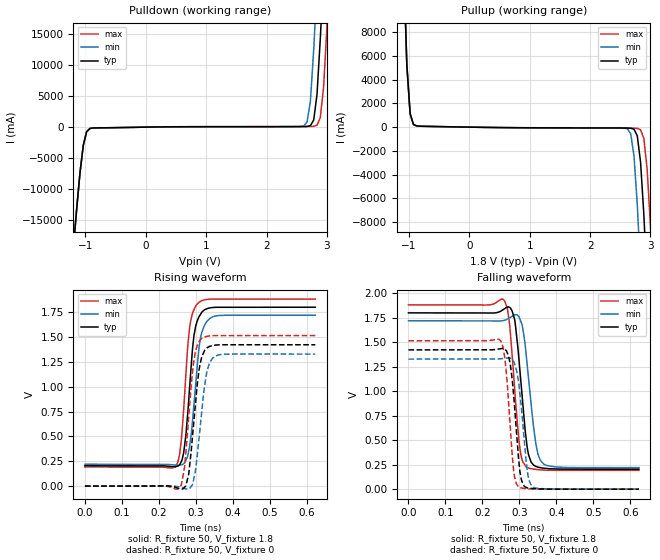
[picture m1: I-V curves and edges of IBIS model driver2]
| IBIS file inv_chain_fast_5ps_tr10ps.ibs created by PYS2IBIS3
| Missouri S&T EMC Lab
[IBIS Ver] 7.1
[File Name] inv_chain_fast_5ps_tr10ps.ibs
[File Rev] 1.0
[Date] Jul 27, 2026
[Source] Eight-stage inv_chain transistor model characterized with s2ibispy
[Notes] Parameter selection; sim_time=6.231e-10, tr=tf=1.000e-11.
[Component] invchain
[Manufacturer] s2ibispy study
[Package]
| variable   typ   min   max
R_pkg 0 NA NA
L_pkg 0H NA NA
C_pkg 0F NA NA
[Pin]  signal_name   model_name   R_pin   L_pin   C_pin
VSSQ   VSSQ   Gnd
VCCQ   VCCQ   Power
| IN IN dummy
PAD   PAD   driver2
| End of Component
| Models and submodels in the file (1): driver2 (Output)
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[Model] driver2
Model_type Output
Polarity Non-Inverting
Enable Active-High
Vinl  = 0.8V
Vinh  = 2V
C_comp 0.4680pF NA NA
[Temperature Range] 27.0000 27.0000 27.0000
[Voltage Range] 1.8000V 1.7000V 1.9000V
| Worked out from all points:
|   slope of the pulldown table from 0 to 0.27 V, typ, clamps not added: 6.79 ohm
|   slope of the pullup table from 0 to 0.27 V, typ, clamps not added: 12.6 ohm
|   rising waveform, R_fixture 50, V_fixture 1.8: 20-80 % time 20.6ps typ, 22.2ps min, 19.1ps max; typ from 0.204 V to 1.8 V
|   rising waveform, R_fixture 50, V_fixture 0: 20-80 % time 21.6ps typ, 23.2ps min, 20.4ps max; typ from 0 V to 1.42 V
|   falling waveform, R_fixture 50, V_fixture 1.8: 20-80 % time 22.9ps typ, 25.2ps min, 20.9ps max; typ from 1.8 V to 0.204 V
|   falling waveform, R_fixture 50, V_fixture 0: 20-80 % time 18.3ps typ, 20ps min, 17.6ps max; typ from 1.42 V to 0 V
[Pulldown]
| Voltage   I(typ)   I(min)   I(max)
-1.8V     -87.88A    -87.88A    -87.88A
-1.2V     -19.4A     -19.4A     -19.4A
-1.036V   -2.952A    -2.948A    -2.955A
-927.3mV  -221.8mA   -216.4mA   -227mA
2.618V    95.77mA    193.1mA    97.15mA
2.727V    244.8mA    4.224A     106.4mA
2.782V    1.151A     12.49A     132.5mA
2.836V    5.27A      23.04A     313.7mA
2.891V    14.25A     33.59A     1.533A
2.946V    24.81A     44.15A     6.464A
3V        35.36A     54.71A     16.02A
3.6V      151.5A     170.8A     132.1A
[Pullup]
| Voltage   I(typ)   I(min)   I(max)
-1.8V     151.4A     151.4A     151.4A
-1.091V   14.2A      14.19A     14.2A
-981.8mV  1.13A      1.129A     1.132A
-872.7mV  99.18mA    97.54mA    100.6mA
2.618V    -78.19mA   -142.5mA   -79.21mA
2.727V    -177.2mA   -2.408A    -86.52mA
2.782V    -728.3mA   -6.523A    -104.6mA
2.836V    -2.952A    -12.18A    -222.3mA
2.891V    -7.391A    -18.4A     -950.7mA
2.946V    -13.22A    -24.62A    -3.561A
3V        -19.44A    -30.85A    -8.297A
3.6V      -87.92A    -99.33A    -76.52A
[Ramp]
| variable   typ   min   max
dV/dt_r 0.8532/0.02169n 0.7968/0.02331n 0.9090/0.0204n
dV/dt_f 0.9575/0.02293n 0.8972/0.02476n 1.0171/0.02128n
R_load = 50
[Rising Waveform]
R_fixture = 50
V_fixture = 1.8
|time   V(typ)   V(min)   V(max)
0s        204.2mV    219.5mV    192.2mV
245.8ps   195.9mV    210.7mV    199.3mV
255.7ps   213mV      210.5mV    313mV
266.3ps   318.9mV    222.7mV    732.9mV
282.6ps   962.2mV    384.6mV    1.583V
295ps     1.521V     816.1mV    1.779V
308.1ps   1.702V     1.383V     1.849V
321.9ps   1.77V      1.607V     1.874V
351.8ps   1.799V     1.711V     1.882V
623.1ps   1.8V       1.719V     1.882V
[Rising Waveform]
R_fixture = 50
V_fixture = 0
|time   V(typ)   V(min)   V(max)
0s        13.08nV    12.76nV    13.48nV
255.7ps   -27.38mV   -7.904mV   -17.51mV
269.5ps   -11.35mV   -24.91mV   191.2mV
280.7ps   121.2mV    -27.91mV   694.8mV
291.3ps   511.5mV    17.27mV    1.164V
305.6ps   1.09V      374.7mV    1.434V
316.2ps   1.304V     771.6mV    1.486V
329.3ps   1.389V     1.141V     1.506V
350.5ps   1.418V     1.304V     1.514V
623.1ps   1.422V     1.328V     1.515V
[Falling Waveform]
R_fixture = 50
V_fixture = 1.8
|time   V(typ)   V(min)   V(max)
0s        1.8V       1.719V     1.882V
260.1ps   1.844V     1.725V     1.921V
273.2ps   1.857V     1.748V     1.695V
287.5ps   1.726V     1.781V     997.8mV
303.1ps   1.128V     1.72V      368.4mV
318.7ps   496.2mV    1.359V     225mV
326.8ps   326.7mV    1.048V     213.5mV
343.7ps   233.3mV    479.8mV    201.7mV
366.1ps   213.7mV    253.8mV    195mV
623.1ps   204.2mV    219.5mV    192.2mV
[Falling Waveform]
R_fixture = 50
V_fixture = 0
|time   V(typ)   V(min)   V(max)
0s        1.422V     1.328V     1.515V
249.5ps   1.435V     1.331V     1.514V
261.4ps   1.427V     1.337V     1.311V
275.1ps   1.281V     1.338V     649.1mV
284.4ps   957.6mV    1.303V     186.9mV
297.5ps   315.3mV    1.1V       24.2mV
305.6ps   92.42mV    820.8mV    11.52mV
322.5ps   12.16mV    155.7mV    4.937mV
336.8ps   5.669mV    21.59mV    2.404mV
623.1ps   116.5nV    -35.8nV    97.16nV
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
